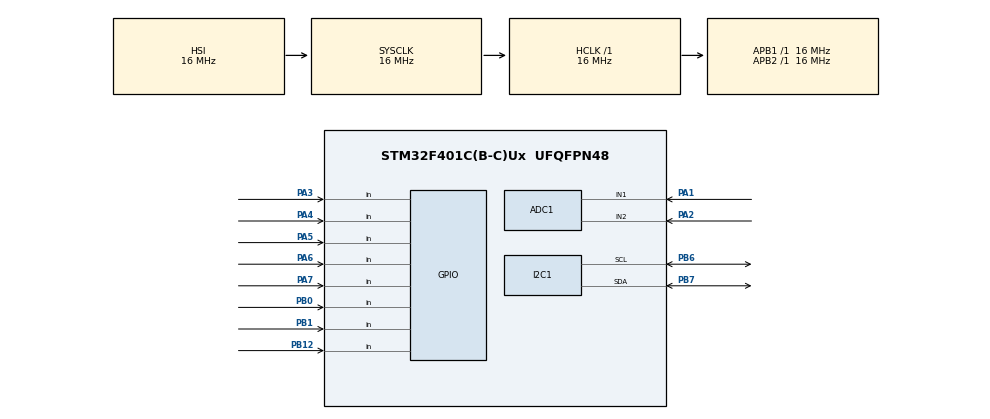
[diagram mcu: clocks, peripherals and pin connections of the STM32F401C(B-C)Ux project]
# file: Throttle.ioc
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ADC1.Channel-0\#ChannelRegularConversion=ADC_CHANNEL_1
ADC1.Channel-1\#ChannelRegularConversion=ADC_CHANNEL_2
ADC1.ContinuousConvMode=ENABLE
ADC1.DMAContinuousRequests=ENABLE
ADC1.DiscontinuousConvMode=DISABLE
ADC1.InjNumberOfConversion=0
ADC1.NbrOfConversion=2
ADC1.NbrOfConversionFlag=1
ADC1.Rank-0\#ChannelRegularConversion=1
ADC1.Rank-1\#ChannelRegularConversion=2
ADC1.SamplingTime-0\#ChannelRegularConversion=ADC_SAMPLETIME_144CYCLES
ADC1.SamplingTime-1\#ChannelRegularConversion=ADC_SAMPLETIME_144CYCLES
ADC1.ScanConvMode=ENABLE
ADC1.master=1
Dma.ADC1.0.Direction=DMA_PERIPH_TO_MEMORY
Dma.ADC1.0.FIFOMode=DMA_FIFOMODE_DISABLE
Dma.ADC1.0.Instance=DMA2_Stream0
Dma.ADC1.0.MemDataAlignment=DMA_MDATAALIGN_HALFWORD
Dma.ADC1.0.MemInc=DMA_MINC_ENABLE
Dma.ADC1.0.Mode=DMA_CIRCULAR
Dma.ADC1.0.PeriphDataAlignment=DMA_PDATAALIGN_HALFWORD
Dma.ADC1.0.PeriphInc=DMA_PINC_DISABLE
Dma.ADC1.0.Priority=DMA_PRIORITY_LOW
Dma.Request0=ADC1
I2C1.OwnAddress=2
Mcu.Family=STM32F4
Mcu.Name=STM32F401C(B-C)Ux
Mcu.Package=UFQFPN48
NVIC.DMA2_Stream0_IRQn=true\:0\:0\:false\:false\:true\:false\:true\:true
NVIC.I2C1_ER_IRQn=true\:0\:0\:false\:false\:true\:true\:true\:true
NVIC.I2C1_EV_IRQn=true\:0\:0\:false\:false\:true\:true\:true\:true
NVIC.PriorityGroup=NVIC_PRIORITYGROUP_4
PA1.Signal=ADCx_IN1
PA2.Signal=ADCx_IN2
PA3.GPIO_PuPd=GPIO_PULLUP
PA3.Signal=GPIO_Input
PA4.GPIO_PuPd=GPIO_PULLUP
PA4.Signal=GPIO_Input
PA5.GPIO_PuPd=GPIO_PULLUP
PA5.Signal=GPIO_Input
PA6.GPIO_PuPd=GPIO_PULLUP
PA6.Signal=GPIO_Input
PA7.GPIO_PuPd=GPIO_PULLUP
PA7.Signal=GPIO_Input
PB0.GPIO_PuPd=GPIO_PULLUP
PB0.Signal=GPIO_Input
PB1.GPIO_PuPd=GPIO_PULLUP
PB1.Signal=GPIO_Input
PB12.GPIO_PuPd=GPIO_PULLUP
PB12.Signal=GPIO_Input
PB6.Mode=I2C
PB6.Signal=I2C1_SCL
PB7.Mode=I2C
PB7.Signal=I2C1_SDA
ProjectManager.HeapSize=0x200
ProjectManager.StackSize=0x400
ProjectManager.TargetToolchain=STM32CubeIDE
RCC.AHBFreq_Value=16000000
RCC.APB1Freq_Value=16000000
RCC.APB2Freq_Value=16000000
RCC.CortexFreq_Value=16000000
RCC.HSE_VALUE=25000000
RCC.HSI_VALUE=16000000
RCC.LSE_VALUE=32768
RCC.SYSCLKFreq_VALUE=16000000
RCC.VCOOutputFreq_Value=192000000
SH.ADCx_IN1.0=ADC1_IN1,IN1
SH.ADCx_IN2.0=ADC1_IN2,IN2
board=custom

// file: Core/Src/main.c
/* USER CODE BEGIN Header */
/**
  ******************************************************************************
  * @file           : main.c
  * @brief          : Main program body
  ******************************************************************************
  * @attention
  *
  * Copyright (c) 2026 STMicroelectronics.
  * All rights reserved.
  *
  * This software is licensed under terms that can be found in the LICENSE file
  * in the root directory of this software component.
  * If no LICENSE file comes with this software, it is provided AS-IS.
  *
  ******************************************************************************
  */
/* USER CODE END Header */
#include "main.h"

/* USER CODE BEGIN Includes */
#include <string.h>
/* USER CODE END Includes */

ADC_HandleTypeDef hadc1;
DMA_HandleTypeDef hdma_adc1;

I2C_HandleTypeDef hi2c1;

void SystemClock_Config(void);
static void MX_GPIO_Init(void);
static void MX_DMA_Init(void);
static void MX_ADC1_Init(void);
static void MX_I2C1_Init(void);

/* USER CODE BEGIN 0 */
typedef struct __attribute__((packed))  {
  uint16_t left_thr;
  uint16_t right_thr;
  uint8_t buttons;
} throttle_data_t;

throttle_data_t th_data = {69};

uint8_t txBuffer[sizeof(throttle_data_t)] = {0};
uint8_t rxBuffer[8] = {0};

volatile uint16_t adcBuffer[2] = {0};

extern void HAL_I2C_AddrCallback(I2C_HandleTypeDef *hi2c, uint8_t TransferDirection, uint16_t AddrMatchCode)
{

	if (hi2c->Instance == I2C1) {

	    if (TransferDirection == I2C_DIRECTION_RECEIVE) {

	      memcpy(txBuffer, &th_data, sizeof(throttle_data_t));

	      HAL_I2C_Slave_Seq_Transmit_IT(&hi2c1, txBuffer, sizeof(throttle_data_t), I2C_FIRST_AND_LAST_FRAME);
	    }
	}
}

void HAL_I2C_SlaveRxCpltCallback(I2C_HandleTypeDef *hi2c) {
	  if (hi2c->Instance == I2C1) {
	    HAL_I2C_EnableListen_IT(&hi2c1);
	  }
}

void HAL_I2C_SlaveTxCpltCallback(I2C_HandleTypeDef *hi2c) {
  // Transmisja zakończona pomyślnie
}

void HAL_I2C_ListenCpltCallback(I2C_HandleTypeDef *hi2c) {
  if (hi2c->Instance == I2C1) {
    HAL_I2C_EnableListen_IT(&hi2c1);
  }
}

void HAL_I2C_ErrorCallback(I2C_HandleTypeDef *hi2c) {
  if (hi2c->Instance == I2C1) {
    if (HAL_I2C_GetError(hi2c) != HAL_I2C_ERROR_AF) {
    }
    HAL_I2C_EnableListen_IT(&hi2c1);
  }
}

void HAL_ADC_ConvCpltCallback(ADC_HandleTypeDef *hadc){
	if(hadc->Instance == ADC1) {

	}
}
/* USER CODE END 0 */

int main(void)
{

  /* MCU Configuration--------------------------------------------------------*/

  /* Reset of all peripherals, Initializes the Flash interface and the Systick. */
  HAL_Init();

  /* Configure the system clock */
  SystemClock_Config();

  /* Initialize all configured peripherals */
  MX_GPIO_Init();
  MX_DMA_Init();
  MX_ADC1_Init();
  MX_I2C1_Init();
  /* USER CODE BEGIN 2 */
  HAL_I2C_EnableListen_IT(&hi2c1);
  HAL_ADC_Start_DMA(&hadc1, (uint32_t*)adcBuffer, 2);

  /* USER CODE END 2 */

  /* Infinite loop */
  /* USER CODE BEGIN WHILE */
  while (1)
  {

	th_data.left_thr = adcBuffer[0];
	th_data.right_thr = adcBuffer[1];

	th_data.buttons = ~(
			((uint8_t)HAL_GPIO_ReadPin(GPIOB, GPIO_PIN_1) << 0) |
			((uint8_t)HAL_GPIO_ReadPin(GPIOB, GPIO_PIN_0) << 1) |
			((uint8_t)HAL_GPIO_ReadPin(GPIOA, GPIO_PIN_7) << 2) |
			((uint8_t)HAL_GPIO_ReadPin(GPIOA, GPIO_PIN_6) << 3) |
			((uint8_t)HAL_GPIO_ReadPin(GPIOA, GPIO_PIN_5) << 4) |
			((uint8_t)HAL_GPIO_ReadPin(GPIOA, GPIO_PIN_4) << 5) |
			((uint8_t)HAL_GPIO_ReadPin(GPIOA, GPIO_PIN_3) << 6) |
			((uint8_t)HAL_GPIO_ReadPin(GPIOB, GPIO_PIN_12) << 7)
		);

    /* USER CODE END WHILE */

  }
}

void SystemClock_Config(void)
{
  RCC_OscInitTypeDef RCC_OscInitStruct = {0};
  RCC_ClkInitTypeDef RCC_ClkInitStruct = {0};

  /** Configure the main internal regulator output voltage
  */
  __HAL_RCC_PWR_CLK_ENABLE();
  __HAL_PWR_VOLTAGESCALING_CONFIG(PWR_REGULATOR_VOLTAGE_SCALE2);

  /** Initializes the RCC Oscillators according to the specified parameters
  * in the RCC_OscInitTypeDef structure.
  */
  RCC_OscInitStruct.OscillatorType = RCC_OSCILLATORTYPE_HSI;
  RCC_OscInitStruct.HSIState = RCC_HSI_ON;
  RCC_OscInitStruct.HSICalibrationValue = RCC_HSICALIBRATION_DEFAULT;
  RCC_OscInitStruct.PLL.PLLState = RCC_PLL_NONE;
  if (HAL_RCC_OscConfig(&RCC_OscInitStruct) != HAL_OK)
  {
    Error_Handler();
  }

  /** Initializes the CPU, AHB and APB buses clocks
  */
  RCC_ClkInitStruct.ClockType = RCC_CLOCKTYPE_HCLK|RCC_CLOCKTYPE_SYSCLK
                              |RCC_CLOCKTYPE_PCLK1|RCC_CLOCKTYPE_PCLK2;
  RCC_ClkInitStruct.SYSCLKSource = RCC_SYSCLKSOURCE_HSI;
  RCC_ClkInitStruct.AHBCLKDivider = RCC_SYSCLK_DIV1;
  RCC_ClkInitStruct.APB1CLKDivider = RCC_HCLK_DIV1;
  RCC_ClkInitStruct.APB2CLKDivider = RCC_HCLK_DIV1;

  if (HAL_RCC_ClockConfig(&RCC_ClkInitStruct, FLASH_LATENCY_0) != HAL_OK)
  {
    Error_Handler();
  }
}

static void MX_ADC1_Init(void)
{

  ADC_ChannelConfTypeDef sConfig = {0};

  /** Configure the global features of the ADC (Clock, Resolution, Data Alignment and number of conversion)
  */
  hadc1.Instance = ADC1;
  hadc1.Init.ClockPrescaler = ADC_CLOCK_SYNC_PCLK_DIV2;
  hadc1.Init.Resolution = ADC_RESOLUTION_12B;
  hadc1.Init.ScanConvMode = ENABLE;
  hadc1.Init.ContinuousConvMode = ENABLE;
  hadc1.Init.DiscontinuousConvMode = DISABLE;
  hadc1.Init.ExternalTrigConvEdge = ADC_EXTERNALTRIGCONVEDGE_NONE;
  hadc1.Init.ExternalTrigConv = ADC_SOFTWARE_START;
  hadc1.Init.DataAlign = ADC_DATAALIGN_RIGHT;
  hadc1.Init.NbrOfConversion = 2;
  hadc1.Init.DMAContinuousRequests = ENABLE;
  hadc1.Init.EOCSelection = ADC_EOC_SINGLE_CONV;
  if (HAL_ADC_Init(&hadc1) != HAL_OK)
  {
    Error_Handler();
  }

  /** Configure for the selected ADC regular channel its corresponding rank in the sequencer and its sample time.
  */
  sConfig.Channel = ADC_CHANNEL_1;
  sConfig.Rank = 1;
  sConfig.SamplingTime = ADC_SAMPLETIME_144CYCLES;
  if (HAL_ADC_ConfigChannel(&hadc1, &sConfig) != HAL_OK)
  {
    Error_Handler();
  }

  /** Configure for the selected ADC regular channel its corresponding rank in the sequencer and its sample time.
  */
  sConfig.Channel = ADC_CHANNEL_2;
  sConfig.Rank = 2;
  if (HAL_ADC_ConfigChannel(&hadc1, &sConfig) != HAL_OK)
  {
    Error_Handler();
  }

}

static void MX_I2C1_Init(void)
{

  hi2c1.Instance = I2C1;
  hi2c1.Init.ClockSpeed = 100000;
  hi2c1.Init.DutyCycle = I2C_DUTYCYCLE_2;
  hi2c1.Init.OwnAddress1 = 4;
  hi2c1.Init.AddressingMode = I2C_ADDRESSINGMODE_7BIT;
  hi2c1.Init.DualAddressMode = I2C_DUALADDRESS_DISABLE;
  hi2c1.Init.OwnAddress2 = 0;
  hi2c1.Init.GeneralCallMode = I2C_GENERALCALL_DISABLE;
  hi2c1.Init.NoStretchMode = I2C_NOSTRETCH_DISABLE;
  if (HAL_I2C_Init(&hi2c1) != HAL_OK)
  {
    Error_Handler();
  }

}

static void MX_DMA_Init(void)
{

  /* DMA controller clock enable */
  __HAL_RCC_DMA2_CLK_ENABLE();

  /* DMA interrupt init */
  /* DMA2_Stream0_IRQn interrupt configuration */
  HAL_NVIC_SetPriority(DMA2_Stream0_IRQn, 0, 0);
  HAL_NVIC_EnableIRQ(DMA2_Stream0_IRQn);

}

static void MX_GPIO_Init(void)
{
  GPIO_InitTypeDef GPIO_InitStruct = {0};

  /* GPIO Ports Clock Enable */
  __HAL_RCC_GPIOA_CLK_ENABLE();
  __HAL_RCC_GPIOB_CLK_ENABLE();

  /*Configure GPIO pins : PA3 PA4 PA5 PA6
                           PA7 */
  GPIO_InitStruct.Pin = GPIO_PIN_3|GPIO_PIN_4|GPIO_PIN_5|GPIO_PIN_6
                          |GPIO_PIN_7;
  GPIO_InitStruct.Mode = GPIO_MODE_INPUT;
  GPIO_InitStruct.Pull = GPIO_PULLUP;
  HAL_GPIO_Init(GPIOA, &GPIO_InitStruct);

  /*Configure GPIO pins : PB0 PB1 PB12 */
  GPIO_InitStruct.Pin = GPIO_PIN_0|GPIO_PIN_1|GPIO_PIN_12;
  GPIO_InitStruct.Mode = GPIO_MODE_INPUT;
  GPIO_InitStruct.Pull = GPIO_PULLUP;
  HAL_GPIO_Init(GPIOB, &GPIO_InitStruct);

}

void Error_Handler(void)
{
  __disable_irq();
  while (1)
  {
  }
}
